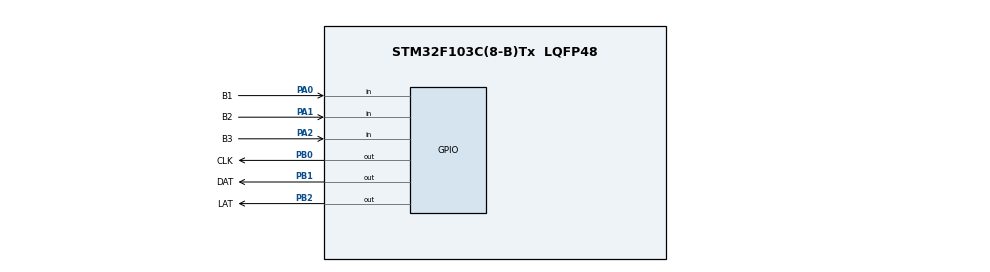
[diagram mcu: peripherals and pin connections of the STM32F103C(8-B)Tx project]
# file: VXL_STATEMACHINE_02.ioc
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Mcu.Family=STM32F1
Mcu.Name=STM32F103C(8-B)Tx
Mcu.Package=LQFP48
NVIC.PriorityGroup=NVIC_PRIORITYGROUP_4
PA0-WKUP.GPIO_Label=B1
PA0-WKUP.GPIO_PuPd=GPIO_PULLUP
PA0-WKUP.Signal=GPIO_Input
PA1.GPIO_Label=B2
PA1.GPIO_PuPd=GPIO_PULLUP
PA1.Signal=GPIO_Input
PA13.Mode=Serial_Wire
PA13.Signal=SYS_JTMS-SWDIO
PA14.Mode=Serial_Wire
PA14.Signal=SYS_JTCK-SWCLK
PA2.GPIO_Label=B3
PA2.GPIO_PuPd=GPIO_PULLUP
PA2.Signal=GPIO_Input
PB0.GPIO_Label=CLK
PB0.Signal=GPIO_Output
PB1.GPIO_Label=DAT
PB1.Signal=GPIO_Output
PB2.GPIO_Label=LAT
PB2.Signal=GPIO_Output
ProjectManager.HeapSize=0x200
ProjectManager.StackSize=0x400
ProjectManager.TargetToolchain=MDK-ARM V5.32
RCC.APB1Freq_Value=8000000
RCC.APB2Freq_Value=8000000
board=custom

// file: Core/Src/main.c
/* USER CODE BEGIN Header */
/**
  ******************************************************************************
  * @file           : main.c
  * @brief          : Main program body
  ******************************************************************************
  * @attention
  *
  * Copyright (c) 2023 STMicroelectronics.
  * All rights reserved.
  *
  * This software is licensed under terms that can be found in the LICENSE file
  * in the root directory of this software component.
  * If no LICENSE file comes with this software, it is provided AS-IS.
  *
  ******************************************************************************
  */
/* USER CODE END Header */
#include "main.h"

/* USER CODE BEGIN PD */
#define B1_PRESSED	GPIO_PIN_RESET //0
#define B2_PRESSED	GPIO_PIN_RESET //0
#define B3_PRESSED	GPIO_PIN_RESET //0
/* USER CODE END PD */

/* USER CODE BEGIN PV */
uint8_t B1 = 0;
uint8_t B2 = 0;
uint8_t B3 = 0;
uint8_t B1SystemState = 0;
uint8_t B2SystemState = 0;
uint8_t B3SystemState = 0;
int8_t n = 0;
/* USER CODE END PV */

void SystemClock_Config(void);
static void MX_GPIO_Init(void);

/* USER CODE BEGIN 0 */
void LED_put(uint8_t n) {
	const uint8_t LED[] = {0x3F,0x06,0x5B,0x4F,0x66,0x6D,0x7D,0x07,0x7f,0x6F};
	for (uint8_t i =0; i<8; i++) {
		HAL_GPIO_WritePin(DAT_GPIO_Port,DAT_Pin,LED[n]&0x80>>i);
		HAL_GPIO_WritePin(CLK_GPIO_Port,CLK_Pin,GPIO_PIN_SET);
		HAL_GPIO_WritePin(CLK_GPIO_Port,CLK_Pin,GPIO_PIN_RESET);
	}
}
/* USER CODE END 0 */

int main(void)
{

  /* MCU Configuration--------------------------------------------------------*/

  /* Reset of all peripherals, Initializes the Flash interface and the Systick. */
  HAL_Init();

  /* Configure the system clock */
  SystemClock_Config();

  /* Initialize all configured peripherals */
  MX_GPIO_Init();
  /* USER CODE BEGIN 2 */
	HAL_GPIO_WritePin(CLK_GPIO_Port,CLK_Pin,GPIO_PIN_RESET);
	HAL_GPIO_WritePin(LAT_GPIO_Port,LAT_Pin,GPIO_PIN_RESET);
  /* USER CODE END 2 */

  /* Infinite loop */
  while (1)
  {

		// Scan Input
		B1 = HAL_GPIO_ReadPin(B1_GPIO_Port,B1_Pin); // B1, B2, B3 pull_up
		B2 = HAL_GPIO_ReadPin(B2_GPIO_Port,B2_Pin);
		B3 = HAL_GPIO_ReadPin(B3_GPIO_Port,B3_Pin);

		// State control
		if ((B1SystemState == 0) && (B1 == B1_PRESSED))
				B1SystemState = 1;
		else if ((B1SystemState == 2) && (B1 != B1_PRESSED))
				B1SystemState = 0;

		if ((B2SystemState == 0) && (B2 == B2_PRESSED))
				B2SystemState = 1;
		else if ((B2SystemState == 2) && (B2 != B2_PRESSED))
				B2SystemState = 0;

		if ((B3SystemState == 0) && (B3 == B3_PRESSED))
				B3SystemState = 1;
		else if ((B3SystemState == 2) && (B3 != B3_PRESSED))
				B3SystemState = 0;

		// Output control
		if (B1SystemState == 1) {
			n = n + 1;
			if (n>9) n =9;
			B1SystemState = 2;
		}
		if (B2SystemState == 1) {
			n = n - 1;
			if (n<0) n =0;
			B2SystemState = 2;
		}
		if (B3SystemState == 1) {
			n = 0;
			B3SystemState = 2;
		}

		// Output
			LED_put(n);
			HAL_GPIO_WritePin(LAT_GPIO_Port,LAT_Pin,GPIO_PIN_SET);
			HAL_GPIO_WritePin(LAT_GPIO_Port,LAT_Pin,GPIO_PIN_RESET);
  }
}

void SystemClock_Config(void)
{
  RCC_OscInitTypeDef RCC_OscInitStruct = {0};
  RCC_ClkInitTypeDef RCC_ClkInitStruct = {0};

  /** Initializes the RCC Oscillators according to the specified parameters
  * in the RCC_OscInitTypeDef structure.
  */
  RCC_OscInitStruct.OscillatorType = RCC_OSCILLATORTYPE_HSI;
  RCC_OscInitStruct.HSIState = RCC_HSI_ON;
  RCC_OscInitStruct.HSICalibrationValue = RCC_HSICALIBRATION_DEFAULT;
  RCC_OscInitStruct.PLL.PLLState = RCC_PLL_NONE;
  if (HAL_RCC_OscConfig(&RCC_OscInitStruct) != HAL_OK)
  {
    Error_Handler();
  }

  /** Initializes the CPU, AHB and APB buses clocks
  */
  RCC_ClkInitStruct.ClockType = RCC_CLOCKTYPE_HCLK|RCC_CLOCKTYPE_SYSCLK
                              |RCC_CLOCKTYPE_PCLK1|RCC_CLOCKTYPE_PCLK2;
  RCC_ClkInitStruct.SYSCLKSource = RCC_SYSCLKSOURCE_HSI;
  RCC_ClkInitStruct.AHBCLKDivider = RCC_SYSCLK_DIV1;
  RCC_ClkInitStruct.APB1CLKDivider = RCC_HCLK_DIV1;
  RCC_ClkInitStruct.APB2CLKDivider = RCC_HCLK_DIV1;

  if (HAL_RCC_ClockConfig(&RCC_ClkInitStruct, FLASH_LATENCY_0) != HAL_OK)
  {
    Error_Handler();
  }
}

static void MX_GPIO_Init(void)
{
  GPIO_InitTypeDef GPIO_InitStruct = {0};

  /* GPIO Ports Clock Enable */
  __HAL_RCC_GPIOC_CLK_ENABLE();
  __HAL_RCC_GPIOD_CLK_ENABLE();
  __HAL_RCC_GPIOA_CLK_ENABLE();
  __HAL_RCC_GPIOB_CLK_ENABLE();

  /*Configure GPIO pin Output Level */
  HAL_GPIO_WritePin(GPIOB, CLK_Pin|DAT_Pin|LAT_Pin, GPIO_PIN_RESET);

  /*Configure GPIO pins : PC13 PC14 PC15 */
  GPIO_InitStruct.Pin = GPIO_PIN_13|GPIO_PIN_14|GPIO_PIN_15;
  GPIO_InitStruct.Mode = GPIO_MODE_ANALOG;
  HAL_GPIO_Init(GPIOC, &GPIO_InitStruct);

  /*Configure GPIO pins : PD0 PD1 */
  GPIO_InitStruct.Pin = GPIO_PIN_0|GPIO_PIN_1;
  GPIO_InitStruct.Mode = GPIO_MODE_ANALOG;
  HAL_GPIO_Init(GPIOD, &GPIO_InitStruct);

  /*Configure GPIO pins : B1_Pin B2_Pin B3_Pin */
  GPIO_InitStruct.Pin = B1_Pin|B2_Pin|B3_Pin;
  GPIO_InitStruct.Mode = GPIO_MODE_INPUT;
  GPIO_InitStruct.Pull = GPIO_PULLUP;
  HAL_GPIO_Init(GPIOA, &GPIO_InitStruct);

  /*Configure GPIO pins : PA3 PA4 PA5 PA6
                           PA7 PA8 PA9 PA10
                           PA11 PA12 PA15 */
  GPIO_InitStruct.Pin = GPIO_PIN_3|GPIO_PIN_4|GPIO_PIN_5|GPIO_PIN_6
                          |GPIO_PIN_7|GPIO_PIN_8|GPIO_PIN_9|GPIO_PIN_10
                          |GPIO_PIN_11|GPIO_PIN_12|GPIO_PIN_15;
  GPIO_InitStruct.Mode = GPIO_MODE_ANALOG;
  HAL_GPIO_Init(GPIOA, &GPIO_InitStruct);

  /*Configure GPIO pins : CLK_Pin DAT_Pin LAT_Pin */
  GPIO_InitStruct.Pin = CLK_Pin|DAT_Pin|LAT_Pin;
  GPIO_InitStruct.Mode = GPIO_MODE_OUTPUT_PP;
  GPIO_InitStruct.Pull = GPIO_NOPULL;
  GPIO_InitStruct.Speed = GPIO_SPEED_FREQ_LOW;
  HAL_GPIO_Init(GPIOB, &GPIO_InitStruct);

  /*Configure GPIO pins : PB10 PB11 PB12 PB13
                           PB14 PB15 PB3 PB4
                           PB5 PB6 PB7 PB8
                           PB9 */
  GPIO_InitStruct.Pin = GPIO_PIN_10|GPIO_PIN_11|GPIO_PIN_12|GPIO_PIN_13
                          |GPIO_PIN_14|GPIO_PIN_15|GPIO_PIN_3|GPIO_PIN_4
                          |GPIO_PIN_5|GPIO_PIN_6|GPIO_PIN_7|GPIO_PIN_8
                          |GPIO_PIN_9;
  GPIO_InitStruct.Mode = GPIO_MODE_ANALOG;
  HAL_GPIO_Init(GPIOB, &GPIO_InitStruct);

  /*Configure peripheral I/O remapping */
  __HAL_AFIO_REMAP_PD01_ENABLE();

}

void Error_Handler(void)
{
  __disable_irq();
  while (1)
  {
  }
}
